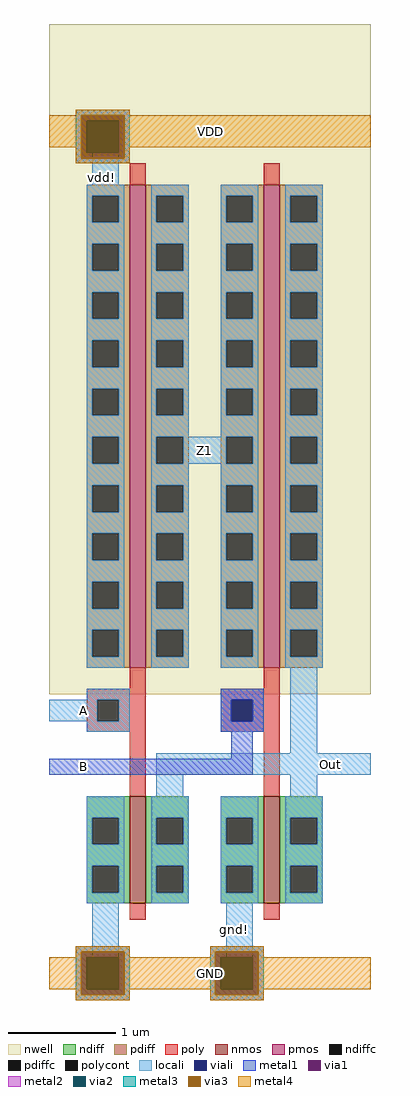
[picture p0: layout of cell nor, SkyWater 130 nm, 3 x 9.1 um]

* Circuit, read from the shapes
.subckt nor A B GND Out VDD Z1 vdd!
XM1 Out A GND VSUBS sky130_fd_pr__nfet_01v8 w=1 l=0.15
XM2 Out B GND VSUBS sky130_fd_pr__nfet_01v8 w=1 l=0.15
XM3 Z1 A vdd! VDD sky130_fd_pr__pfet_01v8 w=4.5 l=0.15
XM4 Out B Z1 VDD sky130_fd_pr__pfet_01v8 w=4.5 l=0.15
.ends

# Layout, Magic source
magic
tech sky130A
<< nwell >>
rect -55 -15 245 610
<< nmos >>
rect 20 -210 35 -110
rect 145 -210 160 -110
<< pmos >>
rect 20 10 35 460
rect 145 10 160 460
<< ndiff >>
rect -20 -130 20 -110
rect -20 -155 -15 -130
rect 10 -155 20 -130
rect -20 -175 20 -155
rect -20 -200 -15 -175
rect 10 -200 20 -175
rect -20 -210 20 -200
rect 35 -130 75 -110
rect 35 -155 45 -130
rect 70 -155 75 -130
rect 35 -175 75 -155
rect 35 -200 45 -175
rect 70 -200 75 -175
rect 35 -210 75 -200
rect 105 -130 145 -110
rect 105 -155 110 -130
rect 135 -155 145 -130
rect 105 -175 145 -155
rect 105 -200 110 -175
rect 135 -200 145 -175
rect 105 -210 145 -200
rect 160 -130 200 -110
rect 160 -155 170 -130
rect 195 -155 200 -130
rect 160 -175 200 -155
rect 160 -200 170 -175
rect 195 -200 200 -175
rect 160 -210 200 -200
<< pdiff >>
rect -20 450 20 460
rect -20 425 -15 450
rect 10 425 20 450
rect -20 405 20 425
rect -20 380 -15 405
rect 10 380 20 405
rect -20 360 20 380
rect -20 335 -15 360
rect 10 335 20 360
rect -20 315 20 335
rect -20 290 -15 315
rect 10 290 20 315
rect -20 270 20 290
rect -20 245 -15 270
rect 10 245 20 270
rect -20 225 20 245
rect -20 200 -15 225
rect 10 200 20 225
rect -20 180 20 200
rect -20 155 -15 180
rect 10 155 20 180
rect -20 135 20 155
rect -20 110 -15 135
rect 10 110 20 135
rect -20 90 20 110
rect -20 65 -15 90
rect 10 65 20 90
rect -20 45 20 65
rect -20 20 -15 45
rect 10 20 20 45
rect -20 10 20 20
rect 35 450 75 460
rect 35 425 45 450
rect 70 425 75 450
rect 35 405 75 425
rect 35 380 45 405
rect 70 380 75 405
rect 35 360 75 380
rect 35 335 45 360
rect 70 335 75 360
rect 35 315 75 335
rect 35 290 45 315
rect 70 290 75 315
rect 35 270 75 290
rect 35 245 45 270
rect 70 245 75 270
rect 35 225 75 245
rect 35 200 45 225
rect 70 200 75 225
rect 35 180 75 200
rect 35 155 45 180
rect 70 155 75 180
rect 35 135 75 155
rect 35 110 45 135
rect 70 110 75 135
rect 35 90 75 110
rect 35 65 45 90
rect 70 65 75 90
rect 35 45 75 65
rect 35 20 45 45
rect 70 20 75 45
rect 35 10 75 20
rect 105 450 145 460
rect 105 425 110 450
rect 135 425 145 450
rect 105 405 145 425
rect 105 380 110 405
rect 135 380 145 405
rect 105 360 145 380
rect 105 335 110 360
rect 135 335 145 360
rect 105 315 145 335
rect 105 290 110 315
rect 135 290 145 315
rect 105 270 145 290
rect 105 245 110 270
rect 135 245 145 270
rect 105 225 145 245
rect 105 200 110 225
rect 135 200 145 225
rect 105 180 145 200
rect 105 155 110 180
rect 135 155 145 180
rect 105 135 145 155
rect 105 110 110 135
rect 135 110 145 135
rect 105 90 145 110
rect 105 65 110 90
rect 135 65 145 90
rect 105 45 145 65
rect 105 20 110 45
rect 135 20 145 45
rect 105 10 145 20
rect 160 450 200 460
rect 160 425 170 450
rect 195 425 200 450
rect 160 405 200 425
rect 160 380 170 405
rect 195 380 200 405
rect 160 360 200 380
rect 160 335 170 360
rect 195 335 200 360
rect 160 315 200 335
rect 160 290 170 315
rect 195 290 200 315
rect 160 270 200 290
rect 160 245 170 270
rect 195 245 200 270
rect 160 225 200 245
rect 160 200 170 225
rect 195 200 200 225
rect 160 180 200 200
rect 160 155 170 180
rect 195 155 200 180
rect 160 135 200 155
rect 160 110 170 135
rect 195 110 200 135
rect 160 90 200 110
rect 160 65 170 90
rect 195 65 200 90
rect 160 45 200 65
rect 160 20 170 45
rect 195 20 200 45
rect 160 10 200 20
<< ndiffc >>
rect -15 -155 10 -130
rect -15 -200 10 -175
rect 45 -155 70 -130
rect 45 -200 70 -175
rect 110 -155 135 -130
rect 110 -200 135 -175
rect 170 -155 195 -130
rect 170 -200 195 -175
<< pdiffc >>
rect -15 425 10 450
rect -15 380 10 405
rect -15 335 10 360
rect -15 290 10 315
rect -15 245 10 270
rect -15 200 10 225
rect -15 155 10 180
rect -15 110 10 135
rect -15 65 10 90
rect -15 20 10 45
rect 45 425 70 450
rect 45 380 70 405
rect 45 335 70 360
rect 45 290 70 315
rect 45 245 70 270
rect 45 200 70 225
rect 45 155 70 180
rect 45 110 70 135
rect 45 65 70 90
rect 45 20 70 45
rect 110 425 135 450
rect 110 380 135 405
rect 110 335 135 360
rect 110 290 135 315
rect 110 245 135 270
rect 110 200 135 225
rect 110 155 135 180
rect 110 110 135 135
rect 110 65 135 90
rect 110 20 135 45
rect 170 425 195 450
rect 170 380 195 405
rect 170 335 195 360
rect 170 290 195 315
rect 170 245 195 270
rect 170 200 195 225
rect 170 155 195 180
rect 170 110 195 135
rect 170 65 195 90
rect 170 20 195 45
<< poly >>
rect 20 460 35 480
rect 145 460 160 480
rect 20 -10 35 10
rect 145 -10 160 10
rect -20 -20 35 -10
rect -20 -40 -10 -20
rect 10 -40 35 -20
rect -20 -50 35 -40
rect 105 -20 160 -10
rect 105 -40 115 -20
rect 135 -40 160 -20
rect 105 -50 160 -40
rect 20 -110 35 -50
rect 145 -110 160 -50
rect 20 -225 35 -210
rect 145 -225 160 -210
<< polycont >>
rect -10 -40 10 -20
rect 115 -40 135 -20
<< locali >>
rect 5 495 10 515
rect -15 460 10 495
rect -20 450 15 460
rect -20 425 -15 450
rect 10 425 15 450
rect -20 405 15 425
rect -20 380 -15 405
rect 10 380 15 405
rect -20 360 15 380
rect -20 335 -15 360
rect 10 335 15 360
rect -20 315 15 335
rect -20 290 -15 315
rect 10 290 15 315
rect -20 270 15 290
rect -20 245 -15 270
rect 10 245 15 270
rect -20 225 15 245
rect -20 200 -15 225
rect 10 200 15 225
rect -20 180 15 200
rect -20 155 -15 180
rect 10 155 15 180
rect -20 135 15 155
rect -20 110 -15 135
rect 10 110 15 135
rect -20 90 15 110
rect -20 65 -15 90
rect 10 65 15 90
rect -20 45 15 65
rect -20 20 -15 45
rect 10 20 15 45
rect -20 10 15 20
rect 40 450 75 460
rect 40 425 45 450
rect 70 425 75 450
rect 40 405 75 425
rect 40 380 45 405
rect 70 380 75 405
rect 40 360 75 380
rect 40 335 45 360
rect 70 335 75 360
rect 40 315 75 335
rect 40 290 45 315
rect 70 290 75 315
rect 40 270 75 290
rect 40 245 45 270
rect 70 245 75 270
rect 40 225 75 245
rect 105 450 140 460
rect 105 425 110 450
rect 135 425 140 450
rect 105 405 140 425
rect 105 380 110 405
rect 135 380 140 405
rect 105 360 140 380
rect 105 335 110 360
rect 135 335 140 360
rect 105 315 140 335
rect 105 290 110 315
rect 135 290 140 315
rect 105 270 140 290
rect 105 245 110 270
rect 135 245 140 270
rect 105 225 140 245
rect 40 200 45 225
rect 70 200 110 225
rect 135 200 140 225
rect 40 180 75 200
rect 40 155 45 180
rect 70 155 75 180
rect 40 135 75 155
rect 40 110 45 135
rect 70 110 75 135
rect 40 90 75 110
rect 40 65 45 90
rect 70 65 75 90
rect 40 45 75 65
rect 40 20 45 45
rect 70 20 75 45
rect 40 10 75 20
rect 105 180 140 200
rect 105 155 110 180
rect 135 155 140 180
rect 105 135 140 155
rect 105 110 110 135
rect 135 110 140 135
rect 105 90 140 110
rect 105 65 110 90
rect 135 65 140 90
rect 105 45 140 65
rect 105 20 110 45
rect 135 20 140 45
rect 105 10 140 20
rect 165 450 200 460
rect 165 425 170 450
rect 195 425 200 450
rect 165 405 200 425
rect 165 380 170 405
rect 195 380 200 405
rect 165 360 200 380
rect 165 335 170 360
rect 195 335 200 360
rect 165 315 200 335
rect 165 290 170 315
rect 195 290 200 315
rect 165 270 200 290
rect 165 245 170 270
rect 195 245 200 270
rect 165 225 200 245
rect 165 200 170 225
rect 195 200 200 225
rect 165 180 200 200
rect 165 155 170 180
rect 195 155 200 180
rect 165 135 200 155
rect 165 110 170 135
rect 195 110 200 135
rect 165 90 200 110
rect 165 65 170 90
rect 195 65 200 90
rect 165 45 200 65
rect 165 20 170 45
rect 195 20 200 45
rect 165 10 200 20
rect -20 -20 20 -10
rect -55 -40 -10 -20
rect 10 -40 20 -20
rect -20 -50 20 -40
rect 105 -20 145 -10
rect 105 -40 115 -20
rect 135 -40 145 -20
rect 105 -50 145 -40
rect 170 -70 195 10
rect 45 -90 245 -70
rect 45 -110 70 -90
rect 170 -110 195 -90
rect -20 -130 15 -110
rect -20 -155 -15 -130
rect 10 -155 15 -130
rect -20 -175 15 -155
rect -20 -200 -15 -175
rect 10 -200 15 -175
rect -20 -210 15 -200
rect 40 -130 75 -110
rect 40 -155 45 -130
rect 70 -155 75 -130
rect 40 -175 75 -155
rect 40 -200 45 -175
rect 70 -200 75 -175
rect 40 -210 75 -200
rect 105 -130 140 -110
rect 105 -155 110 -130
rect 135 -155 140 -130
rect 105 -175 140 -155
rect 105 -200 110 -175
rect 135 -200 140 -175
rect 105 -210 140 -200
rect 165 -130 200 -110
rect 165 -155 170 -130
rect 195 -155 200 -130
rect 165 -175 200 -155
rect 165 -200 170 -175
rect 195 -200 200 -175
rect 165 -210 200 -200
rect -15 -265 10 -210
rect 5 -285 10 -265
rect 110 -265 135 -210
rect 130 -285 135 -265
<< viali >>
rect -15 495 5 515
rect 115 -40 135 -20
rect -15 -285 5 -265
rect 110 -285 130 -265
<< metal1 >>
rect -25 520 15 525
rect -25 490 -20 520
rect 10 490 15 520
rect -25 485 15 490
rect 105 -20 145 -10
rect 105 -40 115 -20
rect 135 -40 145 -20
rect 105 -50 145 -40
rect 115 -75 135 -50
rect -55 -90 135 -75
rect -25 -260 15 -255
rect -25 -290 -20 -260
rect 10 -290 15 -260
rect -25 -295 15 -290
rect 100 -260 140 -255
rect 100 -290 105 -260
rect 135 -290 140 -260
rect 100 -295 140 -290
<< via1 >>
rect -20 515 10 520
rect -20 495 -15 515
rect -15 495 5 515
rect 5 495 10 515
rect -20 490 10 495
rect -20 -265 10 -260
rect -20 -285 -15 -265
rect -15 -285 5 -265
rect 5 -285 10 -265
rect -20 -290 10 -285
rect 105 -265 135 -260
rect 105 -285 110 -265
rect 110 -285 130 -265
rect 130 -285 135 -265
rect 105 -290 135 -285
<< metal2 >>
rect -30 520 20 530
rect -30 490 -20 520
rect 10 490 20 520
rect -30 480 20 490
rect -30 -260 20 -250
rect -30 -290 -20 -260
rect 10 -290 20 -260
rect -30 -300 20 -290
rect 95 -260 145 -250
rect 95 -290 105 -260
rect 135 -290 145 -260
rect 95 -300 145 -290
<< via2 >>
rect -20 490 10 520
rect -20 -290 10 -260
rect 105 -290 135 -260
<< metal3 >>
rect -30 525 20 530
rect -30 485 -25 525
rect 15 485 20 525
rect -30 480 20 485
rect -30 -255 20 -250
rect -30 -295 -25 -255
rect 15 -295 20 -255
rect -30 -300 20 -295
rect 95 -255 145 -250
rect 95 -295 100 -255
rect 140 -295 145 -255
rect 95 -300 145 -295
<< via3 >>
rect -25 520 15 525
rect -25 490 -20 520
rect -20 490 10 520
rect 10 490 15 520
rect -25 485 15 490
rect -25 -260 15 -255
rect -25 -290 -20 -260
rect -20 -290 10 -260
rect 10 -290 15 -260
rect -25 -295 15 -290
rect 100 -260 140 -255
rect 100 -290 105 -260
rect 105 -290 135 -260
rect 135 -290 140 -260
rect 100 -295 140 -290
<< metal4 >>
rect -30 525 20 530
rect -55 495 -25 525
rect -30 485 -25 495
rect 15 495 245 525
rect 15 485 20 495
rect -30 480 20 485
rect -30 -255 20 -250
rect -30 -260 -25 -255
rect -55 -290 -25 -260
rect -30 -295 -25 -290
rect 15 -260 20 -255
rect 95 -255 145 -250
rect 95 -260 100 -255
rect 15 -290 100 -260
rect 15 -295 20 -290
rect -30 -300 20 -295
rect 95 -295 100 -290
rect 140 -260 145 -255
rect 140 -290 245 -260
rect 140 -295 145 -290
rect 95 -300 145 -295
<< labels >>
rlabel metal4 -55 -290 245 -260 1 GND
rlabel nwell -55 495 245 525 1 VDD
rlabel locali 75 200 105 225 1 Z1
rlabel locali 170 -90 245 -70 1 Out
rlabel locali -55 -40 10 -20 1 A
rlabel metal1 -55 -90 10 -75 1 B
rlabel locali -6 467 -6 467 1 vdd!
rlabel locali 118 -234 118 -234 1 gnd!
<< end >>
